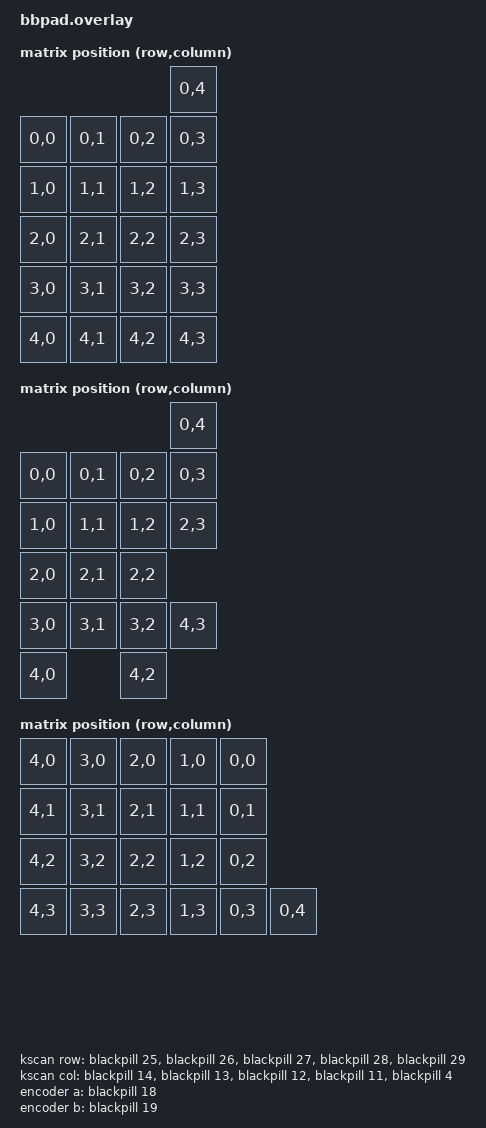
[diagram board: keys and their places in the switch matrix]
/*
 * Copyright (c) 2023 The ZMK Contributors
 *
 * SPDX-License-Identifier: MIT
 */

#include <dt-bindings/zmk/matrix_transform.h>

/ {
    chosen {
        zmk,kscan = &kscan;
        zmk,matrix-transform = &horizontal_all_transform;
    };

    kscan: kscan {
        compatible = "zmk,kscan-gpio-matrix";
        wakeup-source;
        diode-direction = "col2row";
        row-gpios
            = <&blackpill 25 (GPIO_ACTIVE_HIGH | GPIO_PULL_DOWN)>
            , <&blackpill 26 (GPIO_ACTIVE_HIGH | GPIO_PULL_DOWN)>
            , <&blackpill 27 (GPIO_ACTIVE_HIGH | GPIO_PULL_DOWN)>
            , <&blackpill 28 (GPIO_ACTIVE_HIGH | GPIO_PULL_DOWN)>
            , <&blackpill 29 (GPIO_ACTIVE_HIGH | GPIO_PULL_DOWN)>
            ;
        col-gpios
            = <&blackpill 14 GPIO_ACTIVE_HIGH>
            , <&blackpill 13 GPIO_ACTIVE_HIGH>
            , <&blackpill 12 GPIO_ACTIVE_HIGH>
            , <&blackpill 11 GPIO_ACTIVE_HIGH>
            , <&blackpill 4  GPIO_ACTIVE_HIGH>
            ;
    };

    vertical_all_transform: keymap_transform_0 {
        compatible = "zmk,matrix-transform";
        columns = <5>;
        rows = <5>;
        map = <
                                    RC(0,4)
            RC(0,0) RC(0,1) RC(0,2) RC(0,3)
            RC(1,0) RC(1,1) RC(1,2) RC(1,3)
            RC(2,0) RC(2,1) RC(2,2) RC(2,3)
            RC(3,0) RC(3,1) RC(3,2) RC(3,3)
            RC(4,0) RC(4,1) RC(4,2) RC(4,3)
        >;
    };

    numpad_transform: keymap_transform_1 {
        compatible = "zmk,matrix-transform";
        columns = <5>;
        rows = <5>;
        map = <
                                    RC(0,4)
            RC(0,0) RC(0,1) RC(0,2) RC(0,3)
            RC(1,0) RC(1,1) RC(1,2) RC(2,3)
            RC(2,0) RC(2,1) RC(2,2)
            RC(3,0) RC(3,1) RC(3,2) RC(4,3)
            RC(4,0)         RC(4,2)
        >;
    };

    horizontal_all_transform: keymap_transform_2 {
        compatible = "zmk,matrix-transform";
        columns = <5>;
        rows = <5>;
        map = <
            RC(4,0) RC(3,0) RC(2,0) RC(1,0)  RC(0,0)
            RC(4,1) RC(3,1) RC(2,1) RC(1,1)  RC(0,1)
            RC(4,2) RC(3,2) RC(2,2) RC(1,2)  RC(0,2)
            RC(4,3) RC(3,3) RC(2,3) RC(1,3)  RC(0,3) RC(0,4)
        >;
    };

    encoder: encoder {
        compatible = "alps,ec11";
        a-gpios = <&blackpill 18 (GPIO_ACTIVE_LOW | GPIO_PULL_UP)>;
        b-gpios = <&blackpill 19 (GPIO_ACTIVE_LOW | GPIO_PULL_UP)>;
        steps = <80>;
        status = "disabled";
    };

    sensors: sensors {
        compatible = "zmk,keymap-sensors";
        sensors = <&encoder>;
        triggers-per-rotation = <20>;
    };
};
